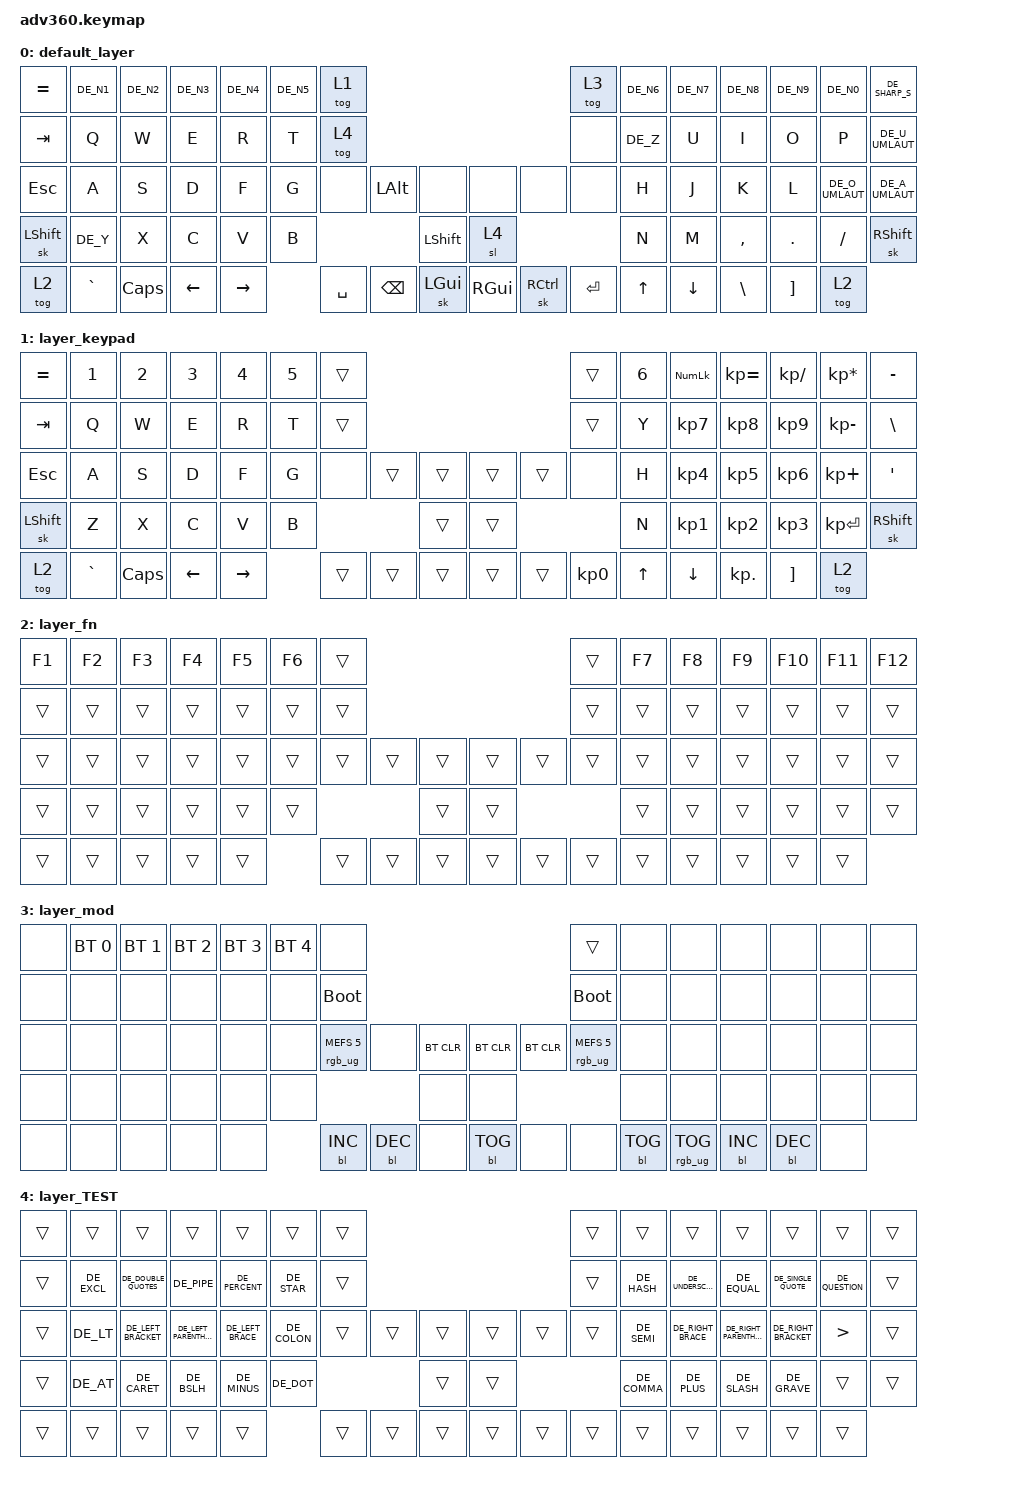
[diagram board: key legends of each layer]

/*
 * Copyright (c) 2020 The ZMK Contributors
 *
 * SPDX-License-Identifier: MIT
 */


/* THIS FILE WAS GENERATED!
 *
 * This file was generated automatically. You may or may not want to
 * edit it directly.
 */

#include <behaviors.dtsi>
#include <dt-bindings/zmk/keys.h>
#include <dt-bindings/zmk/bt.h>
#include <dt-bindings/zmk/rgb.h>
#include <dt-bindings/zmk/backlight.h>
#include "keys_de.h"

/ {
    behaviors {
        #include "macros.dtsi"

        hm: homerow_mods {
            compatible = "zmk,behavior-hold-tap";
            label = "HOMEROW_MODS";
            #binding-cells = <2>;
            tapping-term-ms = <200>;
            quick_tap_ms = <175>;
            flavor = "tap-preferred";
            bindings = <&kp>, <&kp>;
        };
    };

    keymap {
        compatible = "zmk,keymap";


        default_layer {
            bindings = <
                &kp EQUAL  &kp DE_N1  &kp DE_N2  &kp DE_N3  &kp DE_N4  &kp DE_N5    &tog 1                                                             &tog 3       &kp DE_N6  &kp DE_N7  &kp DE_N8      &kp DE_N9  &kp DE_N0        &kp DE_SHARP_S 
                &kp TAB    &kp Q      &kp W      &kp E      &kp R      &kp T        &tog 4                                                             &none        &kp DE_Z   &kp U      &kp I          &kp O      &kp P            &kp DE_U_UMLAUT 
                &kp ESC    &kp A      &kp S      &kp D      &kp F      &kp G        &none       &kp LALT       &none         &none          &none      &none        &kp H      &kp J      &kp K          &kp L      &kp DE_O_UMLAUT  &kp DE_A_UMLAUT 
                &sk LSHFT  &kp DE_Y   &kp X      &kp C      &kp V      &kp B                                   &kp LSHIFT    &sl 4                                  &kp N      &kp M      &kp COMMA      &kp DOT    &kp FSLH         &sk RSHFT
                &tog 2     &kp GRAVE  &kp CAPS   &kp LEFT   &kp RIGHT               &kp SPACE   &kp BACKSPACE  &sk LEFT_GUI  &kp RIGHT_GUI  &sk RCTRL  &kp ENTER    &kp UP     &kp DOWN   &kp BACKSLASH  &kp RBKT   &tog 2
                >;
        };

        layer_keypad {
            bindings = <
                &kp EQUAL  &kp N1      &kp N2     &kp N3    &kp N4      &kp N5     &trans                                  &trans              &kp N6  &kp KP_NUM    &kp KP_EQUAL  &kp KP_DIVIDE  &kp KP_MULTIPLY  &kp MINUS
                &kp TAB    &kp Q       &kp W      &kp E     &kp R       &kp T      &trans                                  &trans              &kp Y   &kp KP_N7     &kp KP_N8     &kp KP_N9      &kp KP_MINUS     &kp BSLH
                &kp ESC    &kp A       &kp S      &kp D     &kp F       &kp G      &none   &trans  &trans  &trans  &trans  &none               &kp H   &kp KP_N4     &kp KP_N5     &kp KP_N6      &kp KP_PLUS      &kp SQT
                &sk LSHFT  &kp Z       &kp X      &kp C     &kp V       &kp B                      &trans  &trans                              &kp N   &kp KP_N1     &kp KP_N2     &kp KP_N3      &kp KP_ENTER     &sk RSHFT
                &tog 2     &kp GRAVE   &kp CAPS   &kp LEFT  &kp RIGHT              &trans  &trans  &trans  &trans  &trans  &kp KP_NUMBER_0              &kp UP       &kp DOWN      &kp KP_DOT     &kp RBKT         &tog 2
                >;
        };

        layer_fn {
            bindings = <
                &kp F1  &kp F2  &kp F3  &kp F4  &kp F5  &kp F6    &trans                                    &trans  &kp F7  &kp F8  &kp F9  &kp F10  &kp F11  &kp F12
                &trans  &trans  &trans  &trans  &trans  &trans    &trans                                    &trans  &trans  &trans  &trans   &trans   &trans   &trans
                &trans  &trans  &trans  &trans  &trans  &trans    &trans  &trans  &trans  &trans  &trans    &trans  &trans  &trans  &trans   &trans   &trans   &trans
                &trans  &trans  &trans  &trans  &trans  &trans                    &trans  &trans                    &trans  &trans  &trans   &trans   &trans   &trans
                &trans  &trans  &trans  &trans  &trans            &trans  &trans  &trans  &trans  &trans    &trans          &trans  &trans   &trans   &trans   &trans
                >;
        };

        layer_mod {
            bindings = <
                &none  &bt BT_SEL 0  &bt BT_SEL 1  &bt BT_SEL 2  &bt BT_SEL 3  &bt BT_SEL 4   &none                                                              &trans                    &none            &none       &none        &none       &none   &none
                &none  &none         &none         &none         &none         &none          &bootloader                                                        &bootloader               &none            &none       &none        &none       &none   &none
                &none  &none         &none         &none         &none         &none          &rgb_ug RGB_MEFS_CMD 5  &none  &bt BT_CLR  &bt BT_CLR  &bt BT_CLR  &rgb_ug RGB_MEFS_CMD 5    &none            &none       &none        &none       &none   &none
                &none  &none         &none         &none         &none         &none                                         &none       &none                                             &none            &none       &none        &none       &none   &none
                &none  &none         &none         &none         &none                        &bl BL_INC  &bl BL_DEC  &none  &bl BL_TOG  &none       &none       &bl BL_TOG                &rgb_ug RGB_TOG  &bl BL_INC  &bl BL_DEC   &none
                >;
        };

        layer_TEST {
            bindings = <
                &trans  &trans           &trans                &trans                   &trans             &trans            &trans                                  &trans    &trans       &trans              &trans                    &trans                &trans            &trans
                &trans  &kp DE_EXCL      &kp DE_DOUBLE_QUOTES  &kp DE_PIPE              &kp DE_PERCENT     &kp DE_STAR       &trans                                  &trans    &kp DE_HASH  &kp DE_UNDERSCORE   &kp DE_EQUAL              &kp DE_SINGLE_QUOTE   &kp DE_QUESTION   &trans
                &trans  &kp DE_LT        &kp DE_LEFT_BRACKET   &kp DE_LEFT_PARENTHESIS  &kp DE_LEFT_BRACE  &kp DE_COLON      &trans  &trans  &trans  &trans  &trans  &trans    &kp DE_SEMI  &kp DE_RIGHT_BRACE  &kp DE_RIGHT_PARENTHESIS  &kp DE_RIGHT_BRACKET  &kp GREATER_THAN  &trans
                &trans  &kp DE_AT        &kp DE_CARET          &kp DE_BSLH              &kp DE_MINUS       &kp DE_DOT                        &trans  &trans                    &kp DE_COMMA &kp DE_PLUS         &kp DE_SLASH              &kp DE_GRAVE          &trans            &trans
                &trans  &trans           &trans                &trans                   &trans                               &trans  &trans  &trans  &trans  &trans  &trans    &trans       &trans              &trans                    &trans                &trans
                >;
        };

    };
};
